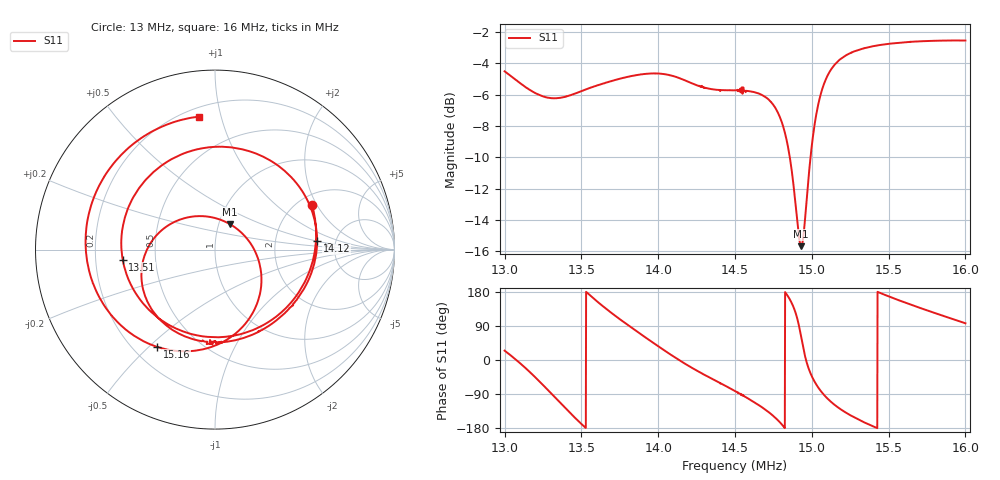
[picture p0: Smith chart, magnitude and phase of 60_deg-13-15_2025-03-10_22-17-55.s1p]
! NanoVNA-App
! Date: 2025-03-10 22:19:46
! Start: 13MHz Stop: 16MHz Points: 1601
! S-Parameter data: F S11
# Hz S RI R 50
!  Frequency  S11_Real  S11_Imag
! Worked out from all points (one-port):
!   1601 points, 13 MHz to 16 MHz, reference 50 ohm
!   lowest |S11| = -15.7 dB at 14.93 MHz (marker M1), VSWR 1.39, Z = 56.4 + j16.5 ohm
!   |S11| at or under -10 dB: 14.86 MHz to 14.99 MHz (134.9 kHz wide, 0.904 % of centre)
!   S11 on the Smith chart (normalised r, x): 13 MHz: 2.37, +1.82; 13.51 MHz: 0.32, -0.05; 14.12 MHz: 3.59, +0.49; 15.16 MHz: 0.29, -0.53; 16 MHz: 0.26, +0.85
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1.3e7  0.5407 0.2484
1.31125e7  0.527 -0.1188
1.3225e7  0.2814 -0.4137
1.33e7  0.0261 -0.488
1.3375e7  -0.2348 -0.4314
1.351375e7  -0.5145 -0.0553
1.361875e7  -0.4627 0.2782
1.375e7  -0.1713 0.5368
1.391312e7  0.2865 0.5084
1.402e7  0.5018 0.2994
1.41175e7  0.5687 0.0458
1.4125e7  0.5684 0.0265
1.429938e7  0.4124 -0.3301
1.45e7  0.073 -0.5122
1.463688e7  -0.2098 -0.4631
1.4755e7  -0.3978 -0.2326
1.482062e7  -0.3853 -0.0147
1.4875e7  -0.2241 0.1553
1.493125e7  0.0825 0.1422
1.497062e7  0.2395 -0.0494
1.500812e7  0.2407 -0.2821
1.507562e7  -0.00289 -0.536
1.515625e7  -0.3229 -0.5417
1.525e7  -0.5608 -0.3849
1.542062e7  -0.7188 -0.0139
1.5625e7  -0.6322 0.3812
1.581812e7  -0.3904 0.6348
1.6e7  -0.0891 0.7409
